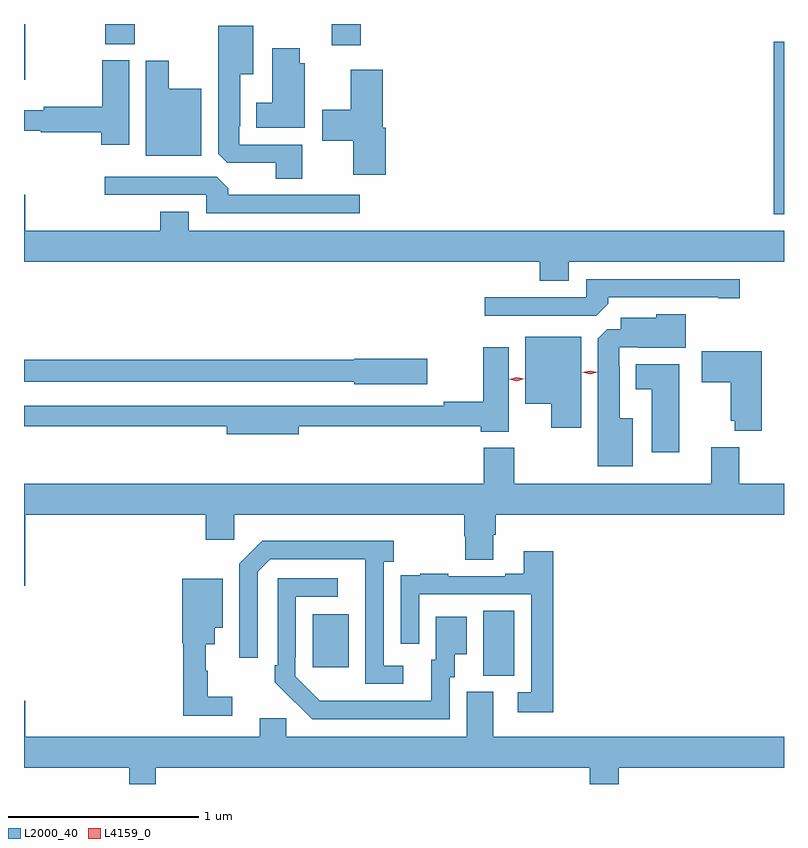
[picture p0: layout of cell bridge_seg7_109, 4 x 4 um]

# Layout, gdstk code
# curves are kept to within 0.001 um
import gdstk
lib = gdstk.Library(unit=1e-6, precision=1e-09)
def R(c, l, rs):  # rectangles x0, y0, x1, y1
    for r in rs: c.add(gdstk.rectangle(r[:2], r[2:], *l))
def P(c, l, *ps):  # polygons
    for p in ps: c.add(gdstk.Polygon(p, *l))
L2000_40 = (2000, 40)
L4159_0 = (4159, 0)

bridge_seg7_109 = lib.new_cell('bridge_seg7_109')
R(bridge_seg7_109, L2000_40, [(1090.658,1019.749,1090.822,1020.092), (1089.761,1019.793,1089.949,1020.073), (1092.187,1022.178,1092.241,1023.085), (1088.241,1022.886,1088.248,1023.179), (1089.86,1023.066,1090.013,1023.179), (1088.668,1023.073,1088.823,1023.179)])
P(bridge_seg7_109, L2000_40, [(1089.706,1022.544),(1089.375,1022.544),(1089.375,1022.641),(1089.379,1022.641),(1089.379,1022.915),(1089.448,1022.915),(1089.448,1023.169),(1089.263,1023.169),(1089.263,1022.497),(1089.312,1022.448),(1089.566,1022.448),(1089.566,1022.365),(1089.706,1022.365)],
  [(1089.718,1022.973),(1089.691,1022.973),(1089.691,1023.052),(1089.548,1023.052),(1089.548,1022.764),(1089.464,1022.764),(1089.464,1022.633),(1089.718,1022.633)],
  [(1088.794,1022.988),(1088.653,1022.988),(1088.653,1022.744),(1088.344,1022.744),(1088.344,1022.725),(1088.241,1022.725),(1088.241,1022.616),(1088.33,1022.616),(1088.33,1022.608),(1088.648,1022.608),(1088.648,1022.544),(1088.794,1022.544)],
  [(1089.175,1022.839),(1089.004,1022.839),(1089.004,1022.986),(1088.882,1022.986),(1088.882,1022.486),(1089.175,1022.486)],
  [(1090.145,1022.633),(1090.13,1022.633),(1090.13,1022.938),(1089.962,1022.938),(1089.962,1022.727),(1089.81,1022.727),(1089.81,1022.564),(1089.974,1022.564),(1089.974,1022.385),(1090.145,1022.385)],
  [(1090.009,1022.28),(1089.317,1022.28),(1089.317,1022.314),(1089.255,1022.376),(1088.667,1022.376),(1088.667,1022.28),(1089.201,1022.28),(1089.201,1022.184),(1090.009,1022.184)],
  [(1091.107,1021.928),(1092.241,1021.928),(1092.241,1022.092),(1089.109,1022.092),(1089.109,1022.191),(1088.957,1022.191),(1088.957,1022.092),(1088.248,1022.092),(1088.248,1022.281),(1088.241,1022.281),(1088.241,1021.928),(1090.955,1021.928),(1090.955,1021.829),(1091.107,1021.829)],
  [(1091.315,1021.706),(1091.315,1021.74),(1091.894,1021.74),(1091.894,1021.735),(1092.007,1021.735),(1092.007,1021.836),(1091.199,1021.836),(1091.199,1021.74),(1090.665,1021.74),(1090.665,1021.644),(1091.253,1021.644)],
  [(1091.446,1021.105),(1091.377,1021.105),(1091.377,1021.379),(1091.373,1021.379),(1091.373,1021.479),(1091.473,1021.479),(1091.473,1021.475),(1091.725,1021.475),(1091.725,1021.651),(1091.568,1021.651),(1091.568,1021.633),(1091.381,1021.633),(1091.381,1021.572),(1091.31,1021.572),(1091.261,1021.523),(1091.261,1020.851),(1091.446,1020.851)],
  [(1091.173,1021.534),(1090.88,1021.534),(1090.88,1021.181),(1091.015,1021.181),(1091.015,1021.053),(1091.173,1021.053)],
  [(1089.688,1021.062),(1090.646,1021.062),(1090.646,1021.034),(1090.792,1021.034),(1090.792,1021.477),(1090.658,1021.477),(1090.658,1021.19),(1090.45,1021.19),(1090.45,1021.17),(1088.241,1021.17),(1088.241,1021.062),(1089.308,1021.062),(1089.308,1021.019),(1089.688,1021.019)],
  [(1092.123,1021.456),(1091.808,1021.456),(1091.808,1021.294),(1091.96,1021.294),(1091.96,1021.091),(1091.983,1021.091),(1091.983,1021.037),(1092.123,1021.037)],
  [(1090.363,1021.418),(1089.978,1021.418),(1089.978,1021.412),(1088.241,1021.412),(1088.241,1021.296),(1089.978,1021.296),(1089.978,1021.283),(1090.363,1021.283)],
  [(1091.689,1021.387),(1091.462,1021.387),(1091.462,1021.256),(1091.546,1021.256),(1091.546,1020.924),(1091.689,1020.924)],
  [(1088.248,1020.596),(1089.197,1020.596),(1089.197,1020.465),(1089.348,1020.465),(1089.348,1020.596),(1090.559,1020.596),(1090.559,1020.483),(1090.564,1020.483),(1090.564,1020.358),(1090.711,1020.358),(1090.711,1020.49),(1090.724,1020.49),(1090.724,1020.596),(1092.241,1020.596),(1092.241,1020.76),(1092.006,1020.76),(1092.006,1020.952),(1091.858,1020.952),(1091.858,1020.76),(1090.821,1020.76),(1090.821,1020.949),(1090.661,1020.949),(1090.661,1020.76),(1088.241,1020.76),(1088.241,1020.222),(1088.248,1020.222)],
  [(1090.237,1019.802),(1090.134,1019.802),(1090.134,1020.35),(1090.186,1020.35),(1090.186,1020.46),(1089.496,1020.46),(1089.375,1020.339),(1089.375,1019.844),(1089.471,1019.844),(1089.471,1020.297),(1089.537,1020.363),(1090.038,1020.363),(1090.038,1019.706),(1090.237,1019.706)],
  [(1091.027,1020.403),(1090.871,1020.403),(1090.871,1020.286),(1090.775,1020.286),(1090.775,1020.273),(1090.475,1020.273),(1090.475,1020.286),(1090.327,1020.286),(1090.327,1020.279),(1090.225,1020.279),(1090.225,1020.17),(1090.224,1020.17),(1090.224,1019.916),(1090.32,1019.916),(1090.32,1020.177),(1090.911,1020.177),(1090.911,1019.661),(1090.839,1019.661),(1090.839,1019.556),(1091.027,1019.556)],
  [(1090.482,1019.742),(1090.507,1019.742),(1090.507,1019.861),(1090.57,1019.861),(1090.57,1020.058),(1090.409,1020.058),(1090.409,1019.832),(1090.385,1019.832),(1090.385,1019.616),(1089.798,1019.617),(1089.669,1019.745),(1089.669,1019.845),(1089.672,1019.845),(1089.672,1020.165),(1089.892,1020.165),(1089.892,1020.261),(1089.576,1020.261),(1089.576,1019.803),(1089.561,1019.803),(1089.561,1019.715),(1089.758,1019.52),(1090.482,1019.52)],
  [(1089.337,1019.639),(1089.208,1019.639),(1089.208,1019.775),(1089.197,1019.775),(1089.197,1019.915),(1089.244,1019.915),(1089.244,1020.002),(1089.286,1020.002),(1089.286,1020.259),(1089.074,1020.259),(1089.074,1019.919),(1089.079,1019.919),(1089.079,1019.538),(1089.337,1019.538)],
  [(1088.935,1019.264),(1091.219,1019.264),(1091.219,1019.179),(1091.372,1019.179),(1091.372,1019.264),(1092.241,1019.264),(1092.241,1019.428),(1090.711,1019.428),(1090.711,1019.664),(1090.571,1019.664),(1090.571,1019.428),(1089.621,1019.428),(1089.621,1019.526),(1089.482,1019.526),(1089.482,1019.428),(1088.248,1019.428),(1088.248,1019.617),(1088.241,1019.617),(1088.241,1019.264),(1088.795,1019.264),(1088.795,1019.179),(1088.935,1019.179)])
P(bridge_seg7_109, L4159_0, [(1091.221,1021.335),(1091.18,1021.345),(1091.18,1021.345),(1091.18,1021.345),(1091.221,1021.355),(1091.262,1021.346),(1091.262,1021.345),(1091.262,1021.345)],
  [(1090.834,1021.3),(1090.795,1021.309),(1090.794,1021.31),(1090.795,1021.31),(1090.834,1021.32),(1090.873,1021.312),(1090.874,1021.311),(1090.873,1021.311)])

lib.write_gds('bridge_seg7_109.gds')
